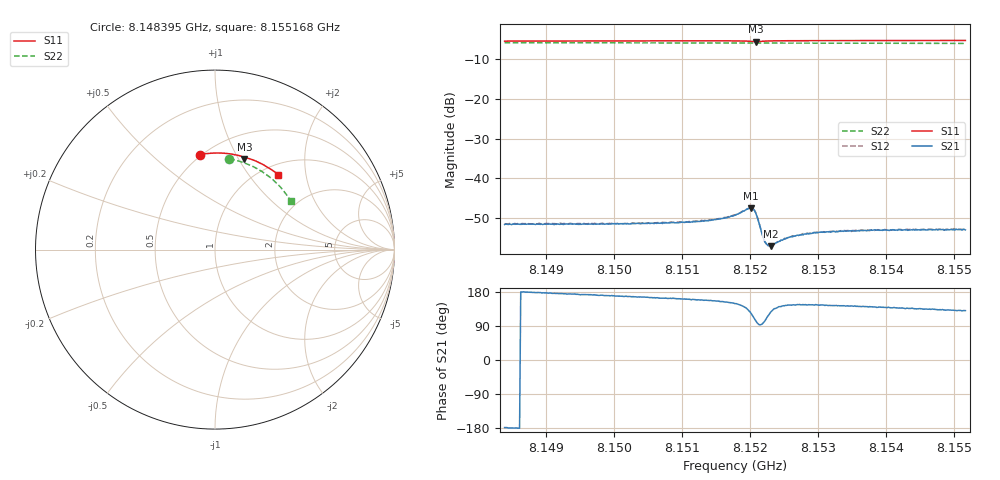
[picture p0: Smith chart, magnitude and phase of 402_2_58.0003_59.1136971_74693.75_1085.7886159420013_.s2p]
#  HZ  S  RI  R  50.00
! Rohde & Schwarz Vector Network Analyzer
! Rohde-Schwarz,ZNB20-2Port,1311601062101988,3.16
! Created: UTC 3/21/2024, 1:08:17 AM
! freq[Hz]  re:S11  im:S11  re:S21  im:S21  re:S12  im:S12  re:S22  im:S22
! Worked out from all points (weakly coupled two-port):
!   401 points, 8.148395 GHz to 8.155168 GHz, reference 50 ohm
!   highest |S21| = -47.59 dB at 8.152019 GHz (marker M1); lowest = -57.2 dB at 8.152307 GHz (marker M2)
!   lowest |S11| = -5.5 dB at 8.152087 GHz (marker M3), VSWR 3.24, Z = 37.8 + j52.8 ohm
!   |S11| at or under -10 dB: nowhere
!   |S22| runs from -6.0 to -5.8 dB; largest |S21 - S12| = 0.00012
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8.148395e9  -0.0853 0.529  -0.0026 -8.17e-05  -0.00266 -2.96e-05  0.0792 0.5056
8.1495296e9  -0.00654 0.5378  -0.0026 0.000337  -0.00262 0.000374  0.1505 0.4878
8.1506641e9  0.0723 0.5349  -0.00258 0.000777  -0.00262 0.000802  0.2178 0.4599
8.1511213e9  0.1041 0.5302  -0.0026 0.000947  -0.00267 0.000997  0.2436 0.4459
8.15146e9  0.1278 0.5254  -0.00271 0.0012  -0.00272 0.00124  0.262 0.4346
8.1516293e9  0.1399 0.5222  -0.00281 0.0014  -0.00283 0.00147  0.2712 0.4287
8.1517817e9  0.1512 0.5185  -0.00291 0.00177  -0.00293 0.00178  0.2794 0.4232
8.151968e9  0.1643 0.5095  -0.00282 0.00297  -0.0028 0.00302  0.2888 0.4162
8.1520188e9  0.1657 0.5053  -0.00227 0.0035  -0.00224 0.00357  0.2912 0.4142
8.1520526e9  0.165 0.5031  -0.00161 0.00374  -0.00155 0.00375  0.2929 0.4128
8.1520865e9  0.1634 0.5027  -0.000844 0.00354  -0.000795 0.00359  0.2944 0.4116
8.1521204e9  0.1627 0.504  -0.000297 0.00298  -0.000263 0.00301  0.296 0.4106
8.1521881e9  0.1656 0.508  -0.000199 0.00186  -0.000138 0.00188  0.2994 0.4081
8.152222e9  0.1683 0.509  -0.000361 0.00153  -0.000375 0.00151  0.3013 0.4066
8.1522558e9  0.1713 0.5096  -0.000577 0.00132  -0.000557 0.00135  0.3029 0.4055
8.1523066e9  0.1756 0.5097  -0.000823 0.00111  -0.000813 0.00119  0.3055 0.4036
8.1525776e9  0.1963 0.505  -0.00147 0.00103  -0.00144 0.00106  0.3189 0.3927
8.1527977e9  0.2115 0.4998  -0.00162 0.00111  -0.00164 0.00112  0.3294 0.3835
8.1529162e9  0.2192 0.4966  -0.00166 0.00113  -0.00165 0.00115  0.335 0.3783
8.1533734e9  0.2487 0.4836  -0.00171 0.00127  -0.0017 0.00135  0.3556 0.358
8.1540508e9  0.2899 0.4612  -0.00163 0.00145  -0.00164 0.0015  0.3836 0.3259
8.1551684e9  0.3531 0.4169  -0.00144 0.00169  -0.00145 0.00176  0.4233 0.2686
